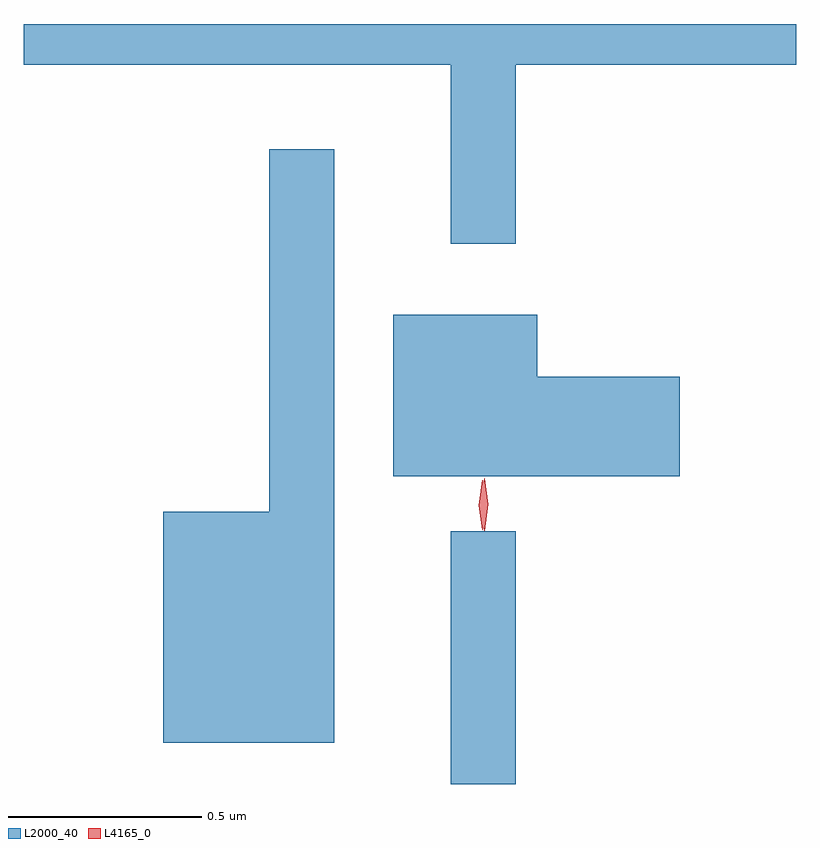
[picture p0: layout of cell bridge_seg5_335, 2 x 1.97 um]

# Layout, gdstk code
import gdstk
lib = gdstk.Library(unit=1e-6, precision=1e-09)
def R(c, l, rs):  # rectangles x0, y0, x1, y1
    for r in rs: c.add(gdstk.rectangle(r[:2], r[2:], *l))
def P(c, l, *ps):  # polygons
    for p in ps: c.add(gdstk.Polygon(p, *l))
L2000_40 = (2000, 40)
L4165_0 = (4165, 0)

bridge_seg5_335 = lib.new_cell('bridge_seg5_335')
R(bridge_seg5_335, L2000_40, [(689.981,1528.194,690.149,1528.848)])
P(bridge_seg5_335, L2000_40, [(690.149,1530.056),(690.875,1530.056),(690.875,1530.162),(688.875,1530.162),(688.875,1530.056),(689.981,1530.056),(689.981,1529.593),(690.149,1529.593)],
  [(689.679,1529.838),(689.511,1529.838),(689.511,1528.899),(689.236,1528.899),(689.236,1528.301),(689.679,1528.301)],
  [(690.574,1529.249),(690.204,1529.249),(690.204,1529.409),(689.831,1529.409),(689.831,1528.991),(690.574,1528.991)])
P(bridge_seg5_335, L4165_0, [(690.062,1528.853),(690.053,1528.916),(690.062,1528.98),(690.062,1528.98),(690.063,1528.98),(690.073,1528.916),(690.063,1528.853),(690.063,1528.853)],
  [(690.067,1528.85),(690.058,1528.918),(690.067,1528.985),(690.068,1528.986),(690.068,1528.985),(690.078,1528.918),(690.068,1528.85),(690.068,1528.85)])

lib.write_gds('bridge_seg5_335.gds')
